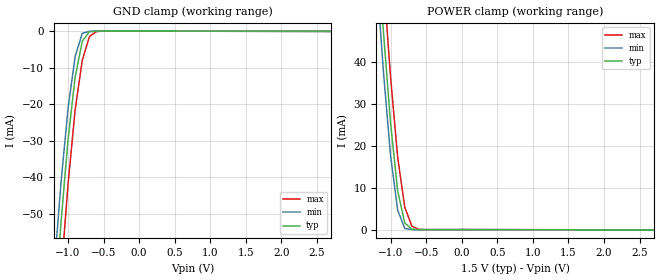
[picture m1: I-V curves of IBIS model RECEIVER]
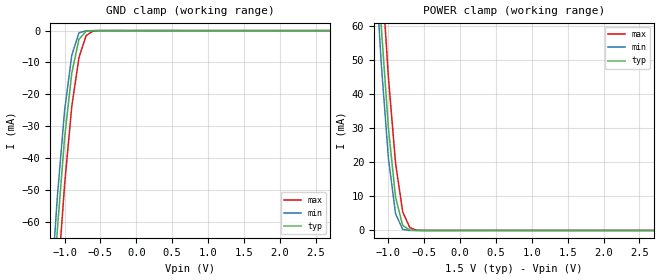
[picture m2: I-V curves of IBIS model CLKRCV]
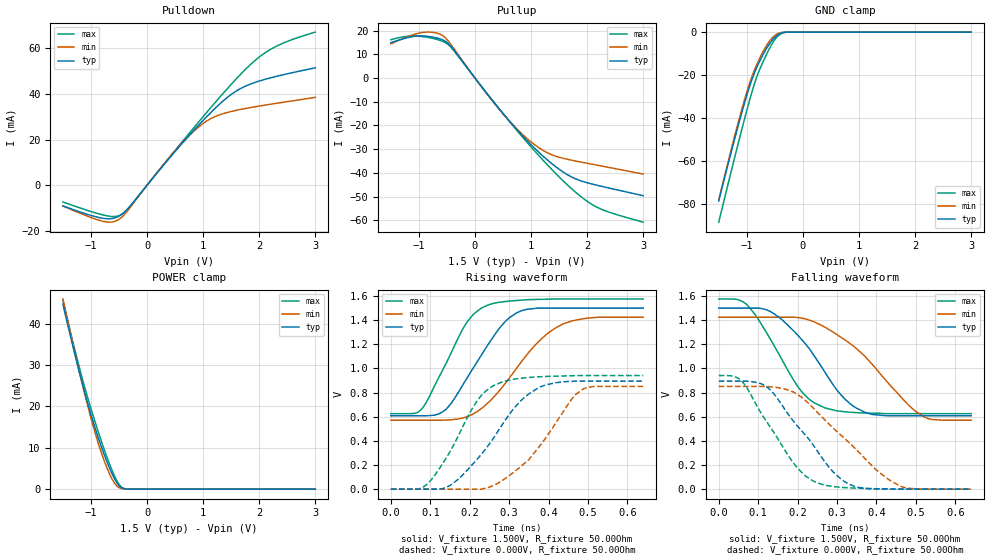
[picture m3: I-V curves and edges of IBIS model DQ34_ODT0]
|IBIS File for 256Mx16 DDR3 SDRAM,Alliance Memory, Inc.
[IBIS ver]  4.0
[File name] as4c256m16d3_c.ibs
[File Rev]  1.0
[Date]   2013/09/17
[Source]   Alliance Memory, Inc.
[Disclaimer] Data is for modeling purpose only and is not guaranteed
[Copyright] Copyright 2013 Alliance Memory, Inc.
|   Component AS4C256M16D3_C(x16)
[Component]   AS4C256M16D3_C_256Mx16_DDR3
[Package Model]  AS4C256M16D3_C(x16)
[Manufacturer]   Alliance Memory, Inc.
[Package]
|   typ   min   max
R_pkg   389.40m   267.93m   530.49m
L_pkg   0.90nH   0.64nH   1.46nH
C_pkg   0.37pF   0.27pF   0.50pF
[Pin]   signal_name   model_name   R_pin   L_pin   C_pin
A1   VDDQ   POWER
A2   DQ13   I/O_DQ   530.49m   0.98nH   0.50pF
A3   DQ15   I/O_DQ   412.18m   0.89nH   0.43pF
A7   DQ12   I/O_DQ   389.20m   0.83nH   0.41pF
A8   VDDQ   POWER
A9   VSS   GND
B1   VSSQ   GND
B2   VDD   POWER
B3   VSS   GND
B7   DQSUB   I/O_DQS   370.29m   0.88nH   0.38pF
B8   DQ14   I/O_DQ   491.16m   1.00nH   0.48pF
B9   VSSQ   GND
C1   VDDQ   POWER
C2   DQ11   I/O_DQ   449.38m   0.93nH   0.41pF
C3   DQ9   I/O_DQ   324.28m   0.67nH   0.35pF
C7   DQSU   I/O_DQS   447.75m   0.97nH   0.38pF
C8   DQ10   I/O_DQ   468.94m   0.85nH   0.48pF
C9   VDDQ   POWER
D1   VSSQ   GND
D2   VDDQ   POWER
D3   DMU   DM   345.90m   0.75nH   0.32pF
D7   DQ8   I/O_DQ   420.50m   0.90nH   0.37pF
D8   VSSQ   GND
D9   VDD   POWER
E1   VSS   GND
E2   VSSQ   GND
E3   DQ0   I/O_DQ   436.02m   0.89nH   0.35pF
E7   DML   DM   311.65m   0.64nH   0.30pF
E8   VSSQ   GND
E9   VDDQ   POWER
F1   VDDQ   POWER
F2   DQ2   I/O_DQ   410.61m   0.76nH   0.41pF
F3   DQSL   I/O_DQS   371.13m   0.84nH   0.33pF
F7   DQ1   I/O_DQ   339.81m   0.77nH   0.31pF
F8   DQ3   I/O_DQ   425.73m   0.78nH   0.42pF
F9   VSSQ   GND
G1   VSSQ   GND
G2   DQ6   I/O_DQ   467.85m   0.86nH   0.42pF
G3   DQSLB   I/O_DQS   373.78m   0.83nH   0.32pF
G7   VDD   POWER
G8   VSS   GND
G9   VSSQ   GND
H1   VREFDQ   POWER
H2   VDDQ   POWER
H3   DQ4   I/O_DQ   357.40m   0.72nH   0.32pF
H7   DQ7   I/O_DQ   310.77m   0.64nH   0.34pF
H8   DQ5   I/O_DQ   385.52m   0.67nH   0.38pF
H9   VDDQ   POWER
J1   NC   NC
J2   VSS   GND
J3   RASB   RECEIVER   363.02m   0.70nH   0.29pF
J7   CK   CLKRCV   348.21m   0.86nH   0.34pF
J8   VSS   GND
J9   NC   NC
K1   ODT   RECEIVER   485.89m   1.09nH   0.44pF
K2   VDD   POWER
K3   CASB   RECEIVER   355.39m   0.69nH   0.32pF
K7   CKB   CLKRCV   336.99m   0.86nH   0.29pF
K8   VDD   POWER
K9   CKE   RECEIVER   468.98m   1.12nH   0.44pF
L1   NC   NC
L2   CSB   RECEIVER   340.49m   0.91nH   0.34pF
L3   WEB   RECEIVER   267.93m   0.72nH   0.27pF
L7   A10   RECEIVER   333.57m   0.73nH   0.28pF
L8   ZQ   RECEIVER   346.40m   0.78nH   0.34pF
L9   NC   NC
M1   VSS   GND
M2   BA0   RECEIVER   385.06m   0.80nH   0.37pF
M3   BA2   RECEIVER   341.89m   0.79nH   0.29pF
M7   A15   RECEIVER
M8   VREFCA   POWER
M9   VSS   GND
N1   VDD   POWER
N2   A3   RECEIVER   372.90m   1.00nH   0.38pF
N3   A0   RECEIVER   349.75m   0.73nH   0.29pF
N7   A12   RECEIVER   348.80m   0.92nH   0.30pF
N8   BA1   RECEIVER   412.84m   0.97nH   0.39pF
N9   VDD   POWER
P1   VSS   GND
P2   A5   RECEIVER   371.64m   1.07nH   0.39pF
P3   A2   RECEIVER   346.18m   0.95nH   0.30pF
P7   A1   RECEIVER   407.72m   1.10nH   0.32pF
P8   A4   RECEIVER   391.01m   0.96nH   0.37pF
P9   VSS   GND
R1   VDD   POWER
R2   A7   RECEIVER   406.66m   1.26nH   0.39pF
R3   A9   RECEIVER   388.88m   1.16nH   0.32pF
R7   A11   RECEIVER   298.62m   0.88nH   0.32pF
R8   A6   RECEIVER   422.29m   1.26nH   0.42pF
R9   VDD   POWER
T1   VSS   GND
T2   RESETB   RECEIVER   467.03m   1.34nH   0.43pF
T3   A13   RECEIVER   394.71m   1.07nH   0.40pF
T7   A14   RECEIVER   386.53m   0.96nH   0.40pF
T8   A8   RECEIVER   490.09m   1.46nH   0.46pF
T9   VSS   GND
|**********************DIFF PIN*********************************************
[Diff_pin]   inv_pin   vdiff   tdelay_typ   tdelay_min   tdelay_max
   F3   G3   0.400V   0ns   NA   NA
   C7   B7   0.400V   0ns   NA   NA
   J7   K7   0.400V   0ns   NA   NA
|   Model Selector
[Model Selector] I/O_DQ
DQ34_ODT0   IO with no ODT
DQ34_ODT20   20 Ohm ODT Submodel
DQ34_ODT30   30 Ohm ODT Submodel
DQ34_ODT40   40 Ohm ODT Submodel
DQ34_ODT60   60 Ohm ODT Submodel
DQ34_ODT120   120 Ohm ODT Submodel
DQ40_ODT0   IO with no ODT
DQ40_ODT20   20 Ohm ODT Submodel
DQ40_ODT30   30 Ohm ODT Submodel
DQ40_ODT40   40 Ohm ODT Submodel
DQ40_ODT60   60 Ohm ODT Submodel
DQ40_ODT120   120 Ohm ODT Submodel
[Model Selector] I/O_DQS
DQS34_ODT0   IO with no ODT
DQS34_ODT20   20 Ohm ODT Submodel
DQS34_ODT30   30 Ohm ODT Submodel
DQS34_ODT40   40 Ohm ODT Submodel
DQS34_ODT60   60 Ohm ODT Submodel
DQS34_ODT120   120 Ohm ODT Submodel
DQS40_ODT0   IO with no ODT
DQS40_ODT20   20 Ohm ODT Submodel
DQS40_ODT30   30 Ohm ODT Submodel
DQS40_ODT40   40 Ohm ODT Submodel
DQS40_ODT60   60 Ohm ODT Submodel
DQS40_ODT120   120 Ohm ODT Submodel
[Model Selector] DM
DM_ODT0   DM input model with no ODT
DM_ODT20   DM Input model with 20 Ohm ODT Submodel
DM_ODT30   DM Input model with 30 Ohm ODT Submodel
DM_ODT40   DM Input model with 40 Ohm ODT Submodel
DM_ODT60   DM Input model with 60 Ohm ODT Submodel
DM_ODT120   DM Input model with 120 Ohm ODT Submodel
| Sparse Matrix Package Model for AS4C256M16D3_C(x16)
[Define Package Model] AS4C256M16D3_C(x16)
[Manufacturer] Alliance Memory,Inc.
[OEM] Alliance Memory,Inc.
[Description] Ver 1.0  96B 9x13mm BGA (0311)
[Number Of Pins] 51
[Pin Numbers]
|[Pin Name]  Net Name
N3  | A0
P7  | A1
P3  | A2
N2  | A3
P8  | A4
P2  | A5
R8  | A6
R2  | A7
T8  | A8
R3  | A9
L7  | A10
R7  | A11
N7  | A12
T3  | A13
T7  | A14
M7  | A15
M2  | BA0
N8  | BA1
M3  | BA2
K3  | CASB
J7  | CK
K7  | CKB
K9  | CKE
L2  | CSB
E3  | DQ0
F7  | DQ1
F2  | DQ2
F8  | DQ3
H3  | DQ4
H8  | DQ5
G2  | DQ6
H7  | DQ7
D7  | DQ8
C3  | DQ9
C8  | DQ10
C2  | DQ11
A7  | DQ12
A2  | DQ13
B8  | DQ14
A3  | DQ15
E7  | LDM
F3  | LDQS
G3  | LDQSB
K1  | ODT
J3  | RASB
T2  | RESETB
D3  | UDM
C7  | UDQS
B7  | UDQSB
L3  | WEB
L8  | ZQ
[Model Data]
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[End Model Data]
[End Package Model]
| Models and submodels in the file (37): RECEIVER (Input), CLKRCV (Input), DQ34_ODT0 (I/O), DQ34_ODT20 (I/O), DQ34_ODT30 (I/O), DQ34_ODT40 (I/O), DQ34_ODT60 (I/O), DQ34_ODT120 (I/O), DQ40_ODT0 (I/O), DQ40_ODT20 (I/O), DQ40_ODT30 (I/O), DQ40_ODT40 (I/O), DQ40_ODT60 (I/O), DQ40_ODT120 (I/O), DQS34_ODT0 (I/O), DQS34_ODT20 (I/O), DQS34_ODT30 (I/O), DQS34_ODT40 (I/O), DQS34_ODT60 (I/O), DQS34_ODT120 (I/O), DQS40_ODT0 (I/O), DQS40_ODT20 (I/O), DQS40_ODT30 (I/O), DQS40_ODT40 (I/O), DQS40_ODT60 (I/O), DQS40_ODT120 (I/O), DM_ODT0 (Input), DM_ODT20 (Input), DM_ODT30 (Input), DM_ODT40 (Input), DM_ODT60 (Input), DM_ODT120 (Input), 20Ohm_ODT (Dynamic_clamp), 30Ohm_ODT (Dynamic_clamp), 40Ohm_ODT (Dynamic_clamp), 60Ohm_ODT (Dynamic_clamp), 120Ohm_ODT (Dynamic_clamp)
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|   Model RECEIVER
[Model]   RECEIVER
Model_type   Input
Vinl = 575.000mV
Vinh = 925.000mV
|   typ   min   max
C_comp   0.68pF   0.55pF   0.72pF
[Model Spec]
| Input threshold voltage corners
Vinl   0.5750V   0.5375V   0.6125V
Vinh   0.9250V   0.8875V   0.9625V
|[Receiver Thresholds]
|Vth   =  0.750V
|Vth_min  =  0.735V
|Vth_max  =  0.765V
|Vinh_ac  =  0.175V
|Vinh_dc  =  0.100V
|Vinl_ac  = -0.175V
|Vinl_dc  = -0.100V
|Tslew_ac =  10.00ns
[Temperature Range]   85.00   110.00   0.00
[Voltage Range]   1.500V   1.425V   1.575V
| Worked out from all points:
|   GND clamp passes 1 mA (typ) near -0.73 V on its own axis
|   POWER clamp passes 1 mA (typ) near -0.76 V on its own axis
[GND Clamp]
|   Voltage   I(typ)   I(min)   I(max)
-1.5V     -170.8mA   -153.7mA   -190.4mA
-1.2V     -79.24mA   -66.53mA   -95.17mA
-1.1V     -52.65mA   -41.72mA   -67.08mA
-1V       -29.64mA   -21.07mA   -41.9mA
-900mV    -12.49mA   -6.838mA   -21.43mA
-800mV    -2.682mA   -532uA     -7.952mA
-700mV    -115uA     41uA       -1.416mA
-600mV    72uA       91uA       -29.4uA
3V        0A         0A         0A
[POWER Clamp]
-1.5V     157.6mA    143.9mA    172.4mA
-1.2V     72.21mA    61.34mA    85.65mA
-1.1V     47.22mA    37.67mA    59.73mA
-1V       25.48mA    17.71mA    36.45mA
-900mV    9.324mA    4.726mA    17.36mA
-800mV    1.673mA    365uA      5.408mA
-700mV    159uA      78uA       899.9uA
-600mV    78uA       78uA       128.1uA
3V        0A         0A         0A
|   Model CLKRCV
[Model]   CLKRCV
Model_type   Input
Vinl = 575.000mV
Vinh = 925.000mV
|   typ   min   max
C_comp   0.71pF   0.65pF   0.76pF
[Model Spec]
| Input threshold voltage corners
Vinl   0.5750V   0.5375V   0.6125V
Vinh   0.9250V   0.8875V   0.9625V
|[Receiver Thresholds]
|Vth   =  0.750V
|Vth_min  =  0.735V
|Vth_max  =  0.765V
|Vinh_ac  =  0.175V
|Vinh_dc  =  0.100V
|Vinl_ac  = -0.175V
|Vinl_dc  = -0.100V
|Tslew_ac =  10.00ns
|[Receiver Thresholds]
|Vcross_low   = 0.575V
|Vcross_high  = 0.925V
|Vdiff_ac   = 350mV
|Vdiff_dc   = 200mV
|Tdiffslew_ac = 10.000ns
[Temperature Range]   85.00   110.00   0.00
[Voltage Range]   1.500V   1.425V   1.575V
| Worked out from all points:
|   GND clamp passes 1 mA (typ) near -0.73 V on its own axis
|   POWER clamp passes 1 mA (typ) near -0.76 V on its own axis
[GND Clamp]
|   Voltage   I(typ)   I(min)   I(max)
-1.5V     -227mA     -219mA     -245.4mA
-1.2V     -96.1mA    -85.1mA    -114.7mA
-1.1V     -62.2mA    -51.8mA    -79.34mA
-1V       -33.6mA    -25mA      -48.29mA
-900mV    -13.3mA    -7.7mA     -23.76mA
-800mV    -2.7mA     -667uA     -8.48mA
-700mV    -188uA     -44uA      -1.525mA
-600mV    -1uA       5uA        -112.4uA
3V        0A         0A         0A
[POWER Clamp]
-1.5V     235mA      227mA      255.4mA
-1.2V     96.1mA     84.5mA     115.5mA
-1.1V     60.2mA     49.3mA     77.92mA
-1V       30.2mA     21.3mA     45.17mA
-900mV    9.76mA     4.93mA     19.78mA
-800mV    1.5mA      310uA      5.438mA
-700mV    80uA       18uA       809.6uA
-600mV    5uA        5uA        57.75uA
3V        0A         0A         0A
[Model]   DQ34_ODT0
Model_type   I/O
Enable   Active-High
Vinl = 575.000mV
Vinh = 925.000mV
Vmeas = 750.000mV
Vref = 750.000mV
Cref = 0.0pF
Rref = 25.000Ohm
|   typ   min   max
C_comp   1.28pF   1.22pF   1.43pF
[Model Spec]
| Input threshold voltage corners
Vinl   0.5750V   0.5375V   0.6125V
Vinh   0.9250V   0.8875V   0.9625V
| Measurement voltage corners
Vmeas   0.7500V   0.7125V   0.7875V
| Timing spec test load voltage corners
Vref   0.7500V   0.7125V   0.7875V
|[Receiver Thresholds]
|Vth   =  0.750V
|Vth_min  =  0.735V
|Vth_max  =  0.765V
|Vinh_ac  =  0.175V
|Vinh_dc  =  0.100V
|Vinl_ac  = -0.175V
|Vinl_dc  = -0.100V
|Tslew_ac =  5.000ns
|Threshold_sensitivity = 0.50
|Reference_supply Pullup_ref
[Temperature Range]   85.00   110.00   0.00
[Voltage Range]   1.500V   1.425V   1.575V
[Pullup Reference]   1.500V   1.425V   1.575V
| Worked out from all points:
|   slope of the pulldown table from 0 to 0.225 V, typ, clamps not added: 33.3 ohm
|   slope of the pullup table from 0 to 0.225 V, typ, clamps not added: 32.6 ohm
|   GND clamp passes 1 mA (typ) near -0.43 V on its own axis
|   POWER clamp passes 1 mA (typ) near -0.51 V on its own axis
|   rising waveform, V_fixture 1.500V, R_fixture 50.00Ohm: 20-80 % time 104ps typ, 130ps min, 88.8ps max; typ from 0.608 V to 1.5 V
|   falling waveform, V_fixture 1.500V, R_fixture 50.00Ohm: 20-80 % time 122ps typ, 156ps min, 104ps max; typ from 1.5 V to 0.608 V
|   rising waveform, V_fixture 0.000V, R_fixture 50.00Ohm: 20-80 % time 125ps typ, 122ps min, 97.1ps max; typ from 0 V to 0.895 V
|   falling waveform, V_fixture 0.000V, R_fixture 50.00Ohm: 20-80 % time 124ps typ, 159ps min, 110ps max; typ from 0.895 V to 0 V
[Pulldown]
|   Voltage   I(typ)   I(min)   I(max)
-1.5V     -9.05mA    -9.072mA   -7.317mA
-725mV    -14.65mA   -16.07mA   -13.33mA
-575mV    -14.32mA   -15.84mA   -13.71mA
-425mV    -12.27mA   -13.41mA   -12.28mA
-275mV    -8.367mA   -8.894mA   -8.449mA
525mV     15.49mA    15.82mA    15.98mA
825mV     23.8mA     23.44mA    24.93mA
1.075V    30.31mA    28.31mA    32.24mA
1.575V    41.02mA    32.73mA    46.17mA
2.025V    45.82mA    34.79mA    56.61mA
2.425V    48.38mA    36.34mA    62.22mA
3V        51.43mA    38.51mA    67.08mA
[Pullup]
|   Voltage   I(typ)   I(min)   I(max)
-1.5V     14.85mA    14.36mA    16.12mA
-1.175V   17.14mA    17.6mA     17.67mA
-875mV    17.62mA    19.32mA    17.24mA
-625mV    16.5mA     18.5mA     15.86mA
-475mV    14.53mA    15.56mA    14.04mA
475mV     -14.24mA   -14.36mA   -14.23mA
825mV     -23.79mA   -23.28mA   -24.24mA
1.125V    -31.01mA   -29.16mA   -32.34mA
1.625V    -40.41mA   -34.13mA   -44.53mA
2.075V    -44.61mA   -36.27mA   -53.12mA
2.375V    -46.29mA   -37.63mA   -56.42mA
3V        -49.61mA   -40.48mA   -60.77mA
[GND Clamp]
|   Voltage   I(typ)   I(min)   I(max)
-1.5V     -78.66mA   -78.09mA   -88.51mA
-1.275V   -55.59mA   -54.4mA    -64.57mA
-1.125V   -40.88mA   -39.43mA   -49.01mA
-1V       -29.48mA   -27.97mA   -36.52mA
-900mV    -21.53mA   -20.13mA   -27.22mA
-800mV    -15.18mA   -13.84mA   -19.38mA
-650mV    -7.694mA   -6.337mA   -10.5mA
-525mV    -3.129mA   -2.128mA   -4.446mA
-425mV    -964.7uA   -481.8uA   -1.392mA
-350mV    -231.3uA   -91.54uA   -355.6uA
-250mV    -15.37uA   -6.172uA   -15.13uA
3V        0A         0A         0A
[POWER Clamp]
|   Voltage   I(typ)   I(min)   I(max)
-1.5V     44.74mA    45.98mA    45.76mA
-1.325V   34.74mA    35.34mA    35.77mA
-1.2V     27.95mA    28.02mA    29.09mA
-1.05V    20.4mA     19.77mA    21.78mA
-925mV    14.77mA    13.59mA    16.21mA
-800mV    9.746mA    8.263mA    11.03mA
-700mV    6.157mA    4.678mA    7.21mA
-600mV    3.066mA    1.888mA    3.799mA
-525mV    1.318mA    620uA      1.716mA
-450mV    352.3uA    131.5uA    428.4uA
-325mV    17.08uA    6.366uA    9.491uA
3V        0A         0A         0A
[Ramp]
R_load = 50.00Ohm
|   typ   min   max
dV/dt_r   384.89mV/122.31ps   370.33mV/161.26ps   418.31mV/95.290ps
dV/dt_f   384.89mV/132.24ps   370.33mV/174.02ps   418.31mV/105.40ps
[Rising Waveform]
V_fixture = 1.500V
V_fixture_min = 1.425V
V_fixture_max = 1.575V
R_fixture = 50.00Ohm
|   Time   V(typ)   V(min)   V(max)
0s        608mV      571.5mV    625.8mV
70ps      608mV      571.5mV    639.4mV
130ps     637.7mV    571.5mV    977.4mV
190ps     903.6mV    596.4mV    1.369V
240ps     1.165V     696.3mV    1.516V
280ps     1.352V     834.4mV    1.55V
320ps     1.462V     1.007V     1.563V
420ps     1.5V       1.34V      1.575V
500ps     1.5V       1.417V     1.575V
640ps     1.5V       1.425V     1.575V
[Falling Waveform]
V_fixture = 1.500V
V_fixture_min = 1.425V
V_fixture_max = 1.575V
R_fixture = 50.00Ohm
|   Time   V(typ)   V(min)   V(max)
0s        1.5V       1.425V     1.575V
70ps      1.5V       1.425V     1.533V
140ps     1.454V     1.425V     1.191V
210ps     1.241V     1.417V     809.5mV
270ps     964.8mV    1.341V     672.7mV
320ps     746.5mV    1.237V     641.3mV
380ps     626.8mV    1.067V     630.3mV
480ps     608mV      700.9mV    625.8mV
520ps     608mV      601mV      625.8mV
640ps     608mV      571.5mV    625.8mV
[Rising Waveform]
V_fixture = 0.000V
V_fixture_min = 0.000V
V_fixture_max = 0.000V
R_fixture = 50.00Ohm
|   Time   V(typ)   V(min)   V(max)
0s        33.61uV    5.208uV    120.3uV
70ps      33.61uV    5.208uV    843uV
100ps     33.61uV    5.208uV    68.52mV
160ps     53.46mV    5.208uV    369.4mV
220ps     252.4mV    5.208uV    737mV
260ps     422.1mV    31.17mV    857.3mV
350ps     788.6mV    244.5mV    925.5mV
400ps     869mV      459mV      934.6mV
480ps     895.1mV    813.5mV    941.3mV
640ps     895.1mV    851.4mV    941.3mV
[Falling Waveform]
V_fixture = 0.000V
V_fixture_min = 0.000V
V_fixture_max = 0.000V
R_fixture = 50.00Ohm
|   Time   V(typ)   V(min)   V(max)
0s        895.1mV    851.4mV    941.3mV
60ps      895.1mV    851.4mV    889.9mV
120ps     851.1mV    849.8mV    566mV
190ps     560.4mV    803.6mV    215mV
240ps     363.2mV    671.2mV    67.13mV
290ps     143.3mV    506.6mV    22.74mV
330ps     43.12mV    387.6mV    11.21mV
400ps     1.979mV    158.1mV    3.712mV
460ps     33.61uV    24.92mV    1.043mV
640ps     33.61uV    5.208uV    120.3uV
